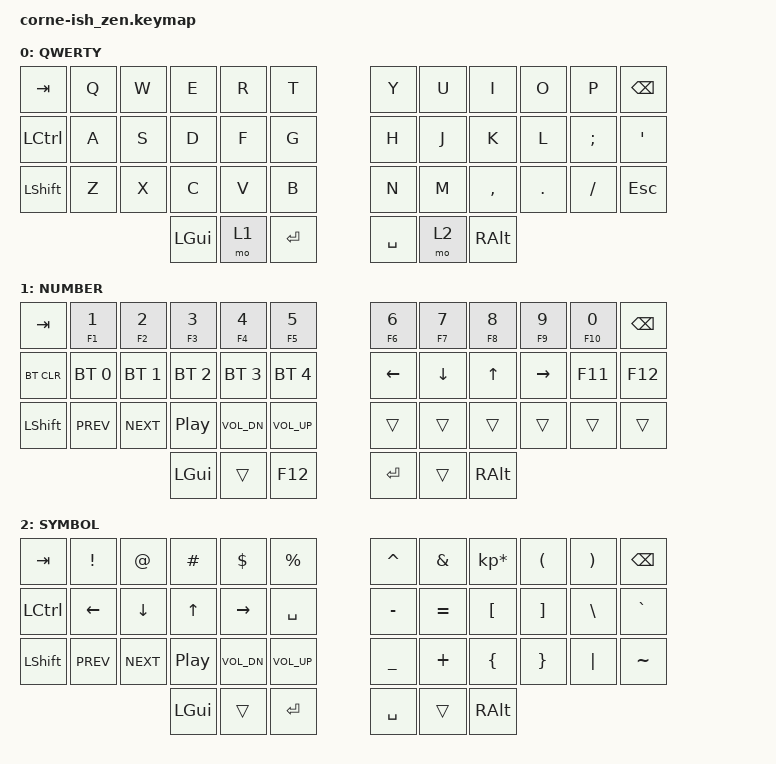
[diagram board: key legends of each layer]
/*
 * Copyright (c) 2021 Darryl deHaan
 * SPDX-License-Identifier: MIT
 */

#include <behaviors.dtsi>
#include <dt-bindings/zmk/bt.h>
#include <dt-bindings/zmk/keys.h>

#define QWERTY 0
#define NUMBER 1
#define SYMBOL 2

/ {
    behaviors {
        // Kein Sticky, alles normal!
    };

    chosen { zmk,matrix_transform = &default_transform; };

    keymap {
        compatible = "zmk,keymap";

        default_layer {
            label = "QWERTY";
            bindings = <
&kp TAB    &kp Q  &kp W  &kp E     &kp R  &kp T      &kp Y      &kp U  &kp I      &kp O    &kp P     &kp BSPC
&kp LCTRL  &kp A  &kp S  &kp D     &kp F  &kp G      &kp H      &kp J  &kp K      &kp L    &kp SEMI  &kp SQT
&kp LSHFT  &kp Z  &kp X  &kp C     &kp V  &kp B      &kp N      &kp M  &kp COMMA  &kp DOT  &kp FSLH  &kp ESC
                         &kp LGUI  &mo 1  &kp RET    &kp SPACE  &mo 2  &kp RALT
            >;
        };

        lower_layer {
            label = "NUMBER";
            bindings = <
&kp TAB     &mt F1 N1     &mt F2 N2     &mt F3 N3     &mt F4 N4     &mt F5 N5       &mt F6 N6  &mt F7 N7  &mt F8 N8  &mt F9 N9  &mt F10 N0  &kp BSPC
&bt BT_CLR  &bt BT_SEL 0  &bt BT_SEL 1  &bt BT_SEL 2  &bt BT_SEL 3  &bt BT_SEL 4    &kp LEFT   &kp DOWN   &kp UP     &kp RIGHT  &kp F11     &kp F12
&kp LSHFT   &kp C_PREV    &kp C_NEXT    &kp C_PP      &kp C_VOL_DN  &kp C_VOL_UP    &trans     &trans     &trans     &trans     &trans      &trans
                                        &kp LGUI      &trans        &kp F12         &kp RET    &trans     &kp RALT
            >;
        };

        raise_layer {
            label = "SYMBOL";
            bindings = <
&kp TAB    &kp EXCL    &kp AT      &kp HASH  &kp DLLR      &kp PRCNT       &kp CARET  &kp AMPS   &kp KP_MULTIPLY  &kp LPAR  &kp RPAR  &kp BSPC
&kp LCTRL  &kp LEFT    &kp DOWN    &kp UP    &kp RIGHT     &kp SPACE       &kp MINUS  &kp EQUAL  &kp LBKT         &kp RBKT  &kp BSLH  &kp GRAVE
&kp LSHFT  &kp C_PREV  &kp C_NEXT  &kp C_PP  &kp K_VOL_DN  &kp C_VOL_UP    &kp UNDER  &kp PLUS   &kp LBRC         &kp RBRC  &kp PIPE  &kp TILDE
                                   &kp LGUI  &trans        &kp RET         &kp SPACE  &trans     &kp RALT
            >;
        };
    };
};
